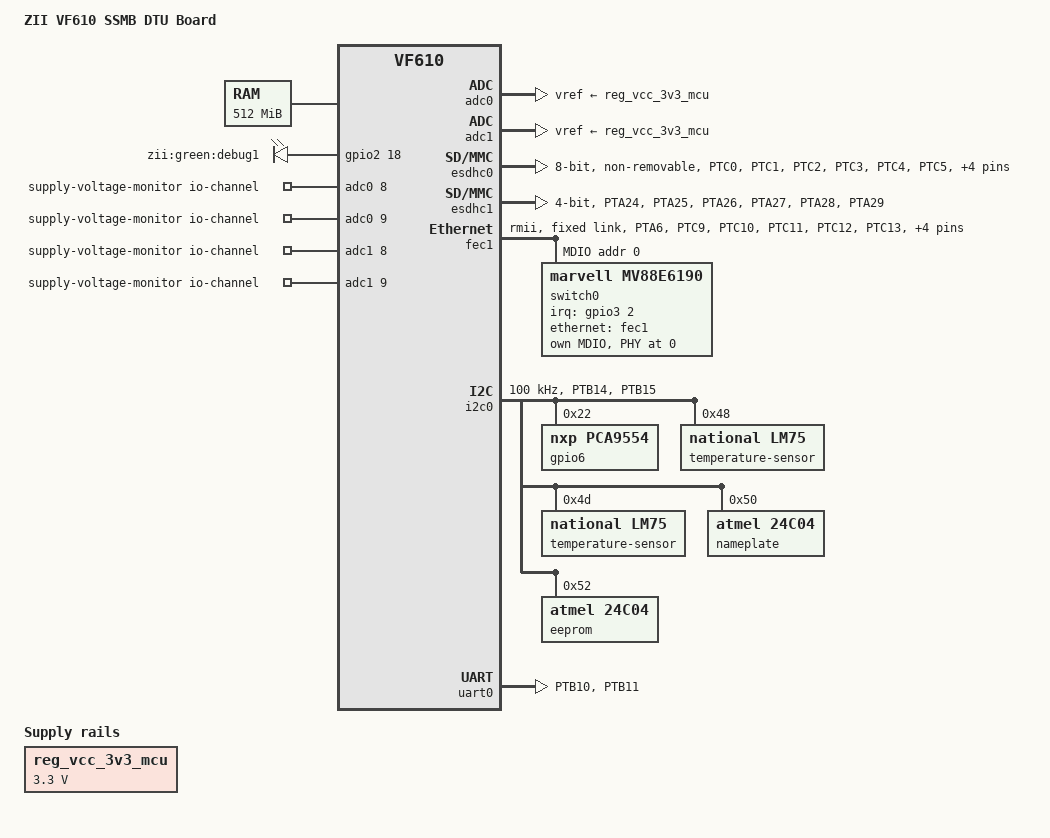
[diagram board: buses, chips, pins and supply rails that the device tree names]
// SPDX-License-Identifier: (GPL-2.0 OR MIT)

/*
 * Device tree file for ZII's SSMB DTU board
 *
 * SSMB - SPU3 Switch Management Board
 * DTU - Digital Tapping Unit
 *
 * Copyright (C) 2015-2019 Zodiac Inflight Innovations
 *
 * Based on an original 'vf610-twr.dts' which is Copyright 2015,
 * Freescale Semiconductor, Inc.
 */

/dts-v1/;
#include "vf610.dtsi"

/ {
	model = "ZII VF610 SSMB DTU Board";
	compatible = "zii,vf610dtu", "zii,vf610dev", "fsl,vf610";

	chosen {
		stdout-path = &uart0;
	};

	memory@80000000 {
		device_type = "memory";
		reg = <0x80000000 0x20000000>;
	};

	gpio-leds {
		compatible = "gpio-leds";
		pinctrl-0 = <&pinctrl_leds_debug>;
		pinctrl-names = "default";

		led-debug {
			label = "zii:green:debug1";
			gpios = <&gpio2 18 GPIO_ACTIVE_HIGH>;
			linux,default-trigger = "heartbeat";
		};
	};

	reg_vcc_3v3_mcu: regulator {
		compatible = "regulator-fixed";
		regulator-name = "vcc_3v3_mcu";
		regulator-min-microvolt = <3300000>;
		regulator-max-microvolt = <3300000>;
	};

	supply-voltage-monitor {
		compatible = "iio-hwmon";
		io-channels = <&adc0 8>, /* 12V_MAIN */
			      <&adc0 9>, /* +3.3V    */
			      <&adc1 8>, /* VCC_1V5  */
			      <&adc1 9>; /* VCC_1V2  */
	};
};

&adc0 {
	vref-supply = <&reg_vcc_3v3_mcu>;
	status = "okay";
};

&adc1 {
	vref-supply = <&reg_vcc_3v3_mcu>;
	status = "okay";
};

&edma0 {
	status = "okay";
};

&edma1 {
	status = "okay";
};

&esdhc0 {
	pinctrl-names = "default";
	pinctrl-0 = <&pinctrl_esdhc0>;
	bus-width = <8>;
	non-removable;
	no-1-8-v;
	keep-power-in-suspend;
	no-sdio;
	no-sd;
	status = "okay";
};

&esdhc1 {
	pinctrl-names = "default";
	pinctrl-0 = <&pinctrl_esdhc1>;
	bus-width = <4>;
	no-sdio;
	status = "okay";
};

&fec1 {
	phy-mode = "rmii";
	pinctrl-names = "default";
	pinctrl-0 = <&pinctrl_fec1>;
	status = "okay";

	fixed-link {
		speed = <100>;
		full-duplex;
	};

	mdio1: mdio {
		#address-cells = <1>;
		#size-cells = <0>;
		clock-frequency = <12500000>;
		suppress-preamble;
		status = "okay";

		switch0: ethernet-switch@0 {
			compatible = "marvell,mv88e6190";
			pinctrl-0 = <&pinctrl_gpio_switch0>;
			pinctrl-names = "default";
			reg = <0>;
			eeprom-length = <65536>;
			interrupt-parent = <&gpio3>;
			interrupts = <2 IRQ_TYPE_LEVEL_LOW>;
			interrupt-controller;
			#interrupt-cells = <2>;

			ethernet-ports {
				#address-cells = <1>;
				#size-cells = <0>;

				ethernet-port@0 {
					reg = <0>;
					phy-mode = "rmii";
					ethernet = <&fec1>;

					fixed-link {
						speed = <100>;
						full-duplex;
					};
				};

				ethernet-port@1 {
					reg = <1>;
					label = "eth_cu_100_3";
				};

				ethernet-port@5 {
					reg = <5>;
					label = "eth_cu_1000_4";
				};

				ethernet-port@6 {
					reg = <6>;
					label = "eth_cu_1000_5";
				};

				ethernet-port@8 {
					reg = <8>;
					label = "eth_cu_1000_1";
				};

				ethernet-port@9 {
					reg = <9>;
					label = "eth_cu_1000_2";
					phy-handle = <&phy9>;
					phy-mode = "sgmii";
					managed = "in-band-status";
				};
			};

			mdio-external {
				compatible = "marvell,mv88e6xxx-mdio-external";
				#address-cells = <1>;
				#size-cells = <0>;

				phy9: ethernet-phy@0 {
					compatible = "ethernet-phy-ieee802.3-c45";
					pinctrl-0 = <&pinctrl_gpio_phy9>;
					pinctrl-names = "default";
					interrupt-parent = <&gpio2>;
					interrupts = <30 IRQ_TYPE_LEVEL_LOW>;
					reg = <0>;
				};
			};
		};
	};
};

&i2c0 {
	clock-frequency = <100000>;
	pinctrl-names = "default";
	pinctrl-0 = <&pinctrl_i2c0>;
	status = "okay";

	gpio6: gpio-expander@22 {
		compatible = "nxp,pca9554";
		reg = <0x22>;
		gpio-controller;
		#gpio-cells = <2>;
	};

	/* On SSMB */
	temperature-sensor@48 {
		compatible = "national,lm75";
		reg = <0x48>;
	};

	/* On DSB */
	temperature-sensor@4d {
		compatible = "national,lm75";
		reg = <0x4d>;
	};

	eeprom@50 {
		compatible = "atmel,24c04";
		reg = <0x50>;
		label = "nameplate";
	};

	eeprom@52 {
		compatible = "atmel,24c04";
		reg = <0x52>;
	};
};

&snvsrtc {
	status = "disabled";
};

&uart0 {
	pinctrl-names = "default";
	pinctrl-0 = <&pinctrl_uart0>;
	status = "okay";
};

&iomuxc {
	pinctrl_dspi1: dspi1grp {
		fsl,pins = <
			VF610_PAD_PTD5__DSPI1_CS0		0x1182
			VF610_PAD_PTD4__DSPI1_CS1		0x1182
			VF610_PAD_PTC6__DSPI1_SIN		0x1181
			VF610_PAD_PTC7__DSPI1_SOUT		0x1182
			VF610_PAD_PTC8__DSPI1_SCK		0x1182
		>;
	};

	pinctrl_esdhc0: esdhc0grp {
		fsl,pins = <
			VF610_PAD_PTC0__ESDHC0_CLK		0x31ef
			VF610_PAD_PTC1__ESDHC0_CMD		0x31ef
			VF610_PAD_PTC2__ESDHC0_DAT0		0x31ef
			VF610_PAD_PTC3__ESDHC0_DAT1		0x31ef
			VF610_PAD_PTC4__ESDHC0_DAT2		0x31ef
			VF610_PAD_PTC5__ESDHC0_DAT3		0x31ef
			VF610_PAD_PTD23__ESDHC0_DAT4		0x31ef
			VF610_PAD_PTD22__ESDHC0_DAT5		0x31ef
			VF610_PAD_PTD21__ESDHC0_DAT6		0x31ef
			VF610_PAD_PTD20__ESDHC0_DAT7		0x31ef
		>;
	};

	pinctrl_esdhc1: esdhc1grp {
		fsl,pins = <
			VF610_PAD_PTA24__ESDHC1_CLK		0x31ef
			VF610_PAD_PTA25__ESDHC1_CMD		0x31ef
			VF610_PAD_PTA26__ESDHC1_DAT0		0x31ef
			VF610_PAD_PTA27__ESDHC1_DAT1		0x31ef
			VF610_PAD_PTA28__ESDHC1_DATA2		0x31ef
			VF610_PAD_PTA29__ESDHC1_DAT3		0x31ef
		>;
	};

	pinctrl_fec1: fec1grp {
		fsl,pins = <
			VF610_PAD_PTA6__RMII_CLKIN		0x30d1
			VF610_PAD_PTC9__ENET_RMII1_MDC		0x30d2
			VF610_PAD_PTC10__ENET_RMII1_MDIO	0x30d3
			VF610_PAD_PTC11__ENET_RMII1_CRS		0x30d1
			VF610_PAD_PTC12__ENET_RMII1_RXD1	0x30d1
			VF610_PAD_PTC13__ENET_RMII1_RXD0	0x30d1
			VF610_PAD_PTC14__ENET_RMII1_RXER	0x30d1
			VF610_PAD_PTC15__ENET_RMII1_TXD1	0x30d2
			VF610_PAD_PTC16__ENET_RMII1_TXD0	0x30d2
			VF610_PAD_PTC17__ENET_RMII1_TXEN	0x30d2
		>;
	};

	pinctrl_gpio_phy9: pinctrl-gpio-phy9grp {
		fsl,pins = <
			VF610_PAD_PTB24__GPIO_94		0x219d
		>;
	};

	pinctrl_gpio_switch0: pinctrl-gpio-switch0grp {
		fsl,pins = <
			VF610_PAD_PTB28__GPIO_98		0x219d
		>;
	};

	pinctrl_i2c0: i2c0grp {
		fsl,pins = <
			VF610_PAD_PTB14__I2C0_SCL		0x37ff
			VF610_PAD_PTB15__I2C0_SDA		0x37ff
		>;
	};

	pinctrl_i2c1: i2c1grp {
		fsl,pins = <
			VF610_PAD_PTB16__I2C1_SCL		0x37ff
			VF610_PAD_PTB17__I2C1_SDA		0x37ff
		>;
	};

	pinctrl_leds_debug: pinctrl-leds-debuggrp {
		fsl,pins = <
			VF610_PAD_PTD3__GPIO_82			0x31c2
		>;
	};

	pinctrl_uart0: uart0grp {
		fsl,pins = <
			VF610_PAD_PTB10__UART0_TX		0x21a2
			VF610_PAD_PTB11__UART0_RX		0x21a1
		>;
	};
};
